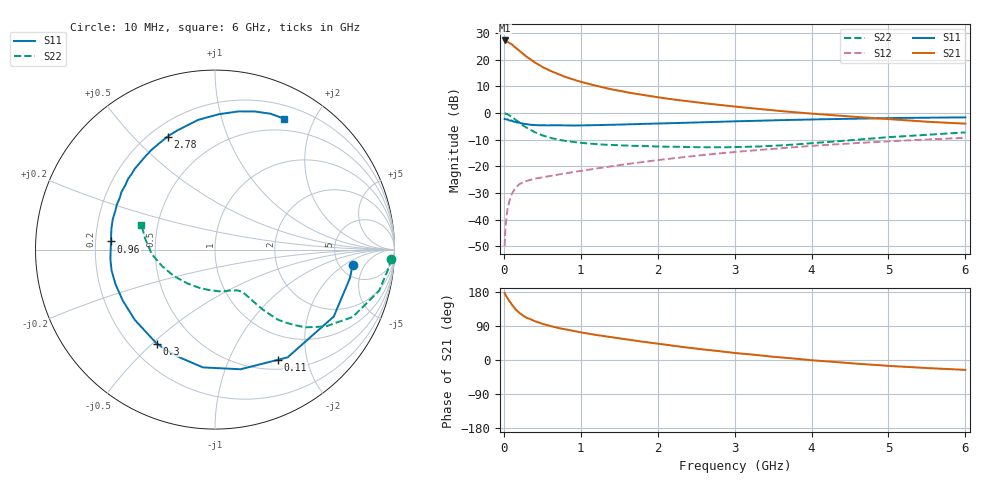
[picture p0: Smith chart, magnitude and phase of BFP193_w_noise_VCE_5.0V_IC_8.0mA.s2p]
! Infineon Technologies  Discrete & RF Semiconductors
! BFP193
! VCE = 5.0 V,  IC =  8.0 mA
! Common Emitter S-Parameters:  Jan 2016
# GHz  S  MA  R  50
!  f  S11  S21  S12  S22
! GHz  MAG  ANG  MAG  ANG  MAG  ANG  MAG  ANG
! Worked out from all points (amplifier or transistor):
!   210 points, 10 MHz to 6 GHz, reference 50 ohm
!   highest |S21| = 27.1 dB at 10 MHz (marker M1)
!   |S21| within 3 dB of that: start of sweep to 165.7 MHz
!   unconditionally stable (mu >= 1): 1.116 GHz to 3.701 GHz
!   at 185 MHz: K = 0.28, MSG = 25.4 dB, |S12| = -27.1 dB
!   at 1.52 GHz: K = 1.08, MAG = 12.1 dB, |S12| = -19.5 dB
!   at 6 GHz: K = 0.89, MSG = 2.6 dB, |S12| = -9.3 dB
!   lowest NFmin = 1.25 dB at 450 MHz
!   S11 on the Smith chart (normalised r, x): 10 MHz: 6.61, -2.73; 110 MHz: 0.63, -1.54; 300 MHz: 0.31, -0.52; 960 MHz: 0.26, +0.04; 2.78 GHz: 0.27, +0.63; 6 GHz: 0.35, +1.60
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0.01  0.7717 -6.2  22.75 177.1  0.0032 86.5  0.9807 -2.9
0.02  0.7684 -12.0  22.1 172.2  0.0065 81.4  0.975 -5.7
0.05  0.7595 -29.4  21.45 162.2  0.0163 74.6  0.9427 -14.1
0.1  0.724 -56.0  19.48 147.0  0.0297 64.3  0.8537 -26.1
0.11  0.7076 -60.1  18.88 144.7  0.0316 62.2  0.8316 -27.7
0.15  0.6818 -77.9  16.81 134.1  0.0394 56.0  0.7502 -34.8
0.2  0.6598 -95.9  14.71 124.7  0.0461 49.6  0.6615 -40.9
0.26  0.6258 -112.6  12.4 115.8  0.0508 45.1  0.5696 -45.7
0.3  0.6165 -121.8  11.16 111.1  0.0535 43.2  0.5239 -48.1
0.4  0.594 -138.8  8.87 102.5  0.0587 40.3  0.4373 -51.1
0.5  0.5873 -150.9  7.268 95.5  0.0623 39.8  0.3806 -52.9
0.6  0.5869 -160.6  6.183 89.8  0.0661 40.0  0.3428 -54.1
0.7  0.5879 -168.7  5.377 84.8  0.0698 40.8  0.3177 -55.0
0.96  0.5818 175.5  3.982 74.6  0.0804 42.6  0.2798 -57.4
1.02  0.5841 172.3  3.761 72.3  0.0826 43.2  0.2738 -58.2
1.4  0.6014 155.5  2.768 60.1  0.0999 45.3  0.2522 -64.6
2.02  0.6353 134.2  1.945 42.6  0.132 45.3  0.2341 -79.0
2.78  0.6828 112.8  1.427 23.7  0.1734 41.5  0.2265 -103.1
3.1  0.7007 105.6  1.274 16.8  0.1908 39.2  0.2308 -114.6
4.1  0.7591 86.6  0.947 -2.0  0.247 30.5  0.2782 -150.7
5.1  0.8033 72.7  0.751 -16.6  0.2985 20.2  0.3586 -178.4
6  0.8246 62.3  0.63 -26.1  0.3426 10.3  0.4322 161.4
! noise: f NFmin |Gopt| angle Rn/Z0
0.45  1.25  0.23  133  0.12
0.9  1.3  0.35  156  0.11
1.8  2  0.55  -155  0.13
